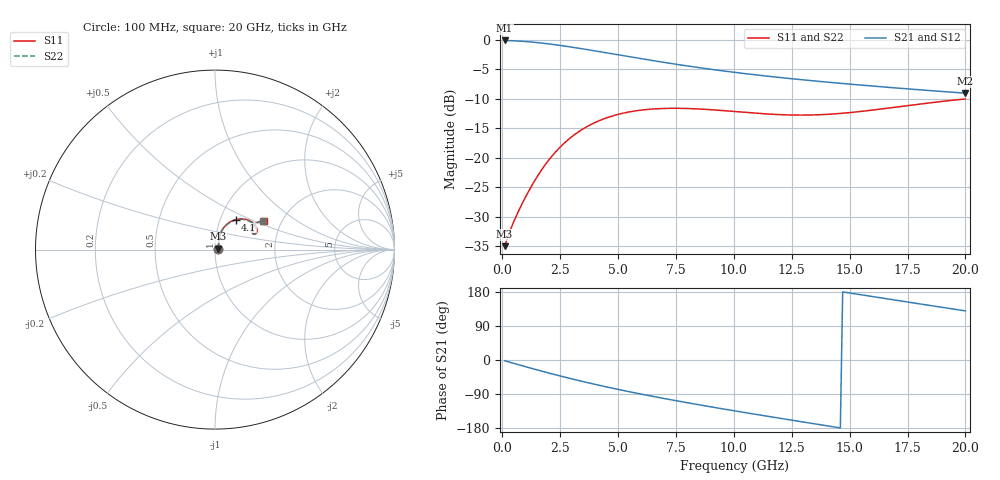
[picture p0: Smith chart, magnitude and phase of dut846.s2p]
! Touchstone file exported from HFSS 2024.1.0
!  File:  C:/UserFiles/LocalFiles/RDL_TSV_Batchsim/temp_RDL_TSV_846_1779921814.aedt
!  Generated:  07:00:56 AM May 28, 2026
!  Design:  RDL_TSV
!  Project:  temp_RDL_TSV_846_1779921814
!  Setup:  Setup1
!  Solution:  Sweep
! Variables:
!  dtsv = 7.85um
!  hbump = 3um
!  htsv = 63.18um
!  ldown = 446.13um
!  lrdl = 578.21um
!  p = 40
!  p1 = 40.47um
!  rhole = 10um
!  subl = 3651.23um
!  t = 450um
!  tdown = 3.25um
!  trdl = 4.91um
!  viad = 10um
!  wdown = 19.41um
!  wrdl = 19.47um
!  xbump = 18um
# GHz S MA R 50.000000
! Terminal data exported
! Port[1] = TM1_1_T1
! Port[2] = TM1_4_T1
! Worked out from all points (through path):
!   200 points, 100 MHz to 20 GHz, reference 50 ohm
!   highest |S21| = -0.15 dB at 100 MHz (marker M1); lowest = -9.1 dB at 20 GHz (marker M2)
!   group delay of S21, straight-line fit = 30.6 ps
!   lowest |S11| = -35.0 dB at 100 MHz (marker M3), VSWR 1.04, Z = 51.7 + j0.523 ohm
!   |S11| at or under -10 dB: start of sweep to end of sweep
!   |S22| runs from -35.0 to -10.1 dB; largest |S21 - S12| = 3.1e-14
!   S11 on the Smith chart (normalised r, x): 100 MHz: 1.03, +0.01; 4.1 GHz: 1.18, +0.41; 20 GHz: 1.62, +0.57
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0.1  0.01785 16.4  0.9827 -1.8  0.9827 -1.8  0.01785 16.4
! Gamma 0 0 0 0
! Port Impedance 50 0 50 0
0.4  0.02598 42.5  0.9779 -7.2  0.9779 -7.2  0.02599 42.4
0.8  0.03873 58.6  0.9687 -14.2  0.9687 -14.2  0.03874 58.5
1.3  0.05931 68.6  0.9516 -22.7  0.9516 -22.7  0.05923 68.3
1.7  0.07911 71.4  0.934 -29.4  0.934 -29.4  0.07889 71.0
2.1  0.1008 71.2  0.9139 -35.9  0.9139 -35.9  0.1004 70.9
2.5  0.1231 69.4  0.892 -42.2  0.892 -42.2  0.1225 69.0
3  0.1505 65.7  0.8628 -49.8  0.8628 -49.8  0.1496 65.3
3.5  0.176 61.2  0.8327 -57.1  0.8327 -57.1  0.1748 60.9
4.1  0.2025 55.5  0.7964 -65.6  0.7964 -65.6  0.201 55.1
5.3  0.2402 44.5  0.7265 -81.4  0.7265 -81.4  0.238 44.2
6  0.2529 38.9  0.6889 -90.0  0.6889 -90.0  0.2505 38.5
6.8  0.2604 33.3  0.6494 -99.5  0.6494 -99.5  0.2577 33.0
7.6  0.2619 28.8  0.6138 -108.5  0.6138 -108.5  0.259 28.5
8.4  0.2591 25.3  0.5821 -117.2  0.5821 -117.2  0.256 25.0
10.1  0.2454 21.5  0.5258 -134.9  0.5258 -134.9  0.2421 21.3
11.7  0.233 22.1  0.484 -150.9  0.484 -150.9  0.2297 22.1
13.4  0.2301 26.0  0.448 -167.6  0.448 -167.6  0.227 26.0
15  0.2409 30.0  0.4197 176.9  0.4197 176.9  0.2379 30.1
16.7  0.2635 32.4  0.3937 160.6  0.3937 160.6  0.2606 32.5
18.4  0.2905 32.3  0.3708 144.5  0.3708 144.5  0.2875 32.4
20  0.3142 30.4  0.3518 129.6  0.3518 129.6  0.3109 30.4
